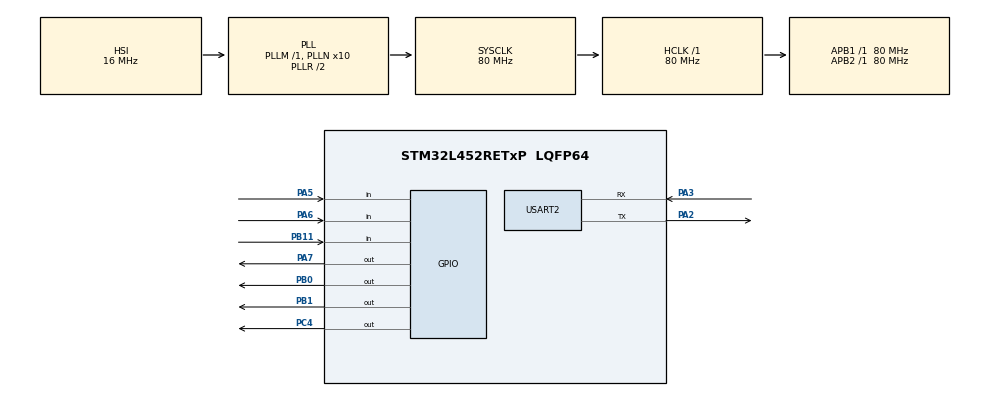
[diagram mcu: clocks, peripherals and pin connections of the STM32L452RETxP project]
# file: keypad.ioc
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Mcu.Family=STM32L4
Mcu.Name=STM32L452RETxP
Mcu.Package=LQFP64
NVIC.PriorityGroup=NVIC_PRIORITYGROUP_4
PA13\ (JTMS/SWDIO).Mode=Serial_Wire
PA13\ (JTMS/SWDIO).Signal=SYS_JTMS-SWDIO
PA14\ (JTCK/SWCLK).Mode=Serial_Wire
PA14\ (JTCK/SWCLK).Signal=SYS_JTCK-SWCLK
PA2.Mode=Asynchronous
PA2.Signal=USART2_TX
PA3.Mode=Asynchronous
PA3.Signal=USART2_RX
PA5.GPIO_PuPd=GPIO_PULLUP
PA5.Signal=GPIO_Input
PA6.GPIO_PuPd=GPIO_PULLUP
PA6.Signal=GPIO_Input
PA7.GPIO_PuPd=GPIO_PULLDOWN
PA7.Signal=GPIO_Output
PB0.GPIO_PuPd=GPIO_PULLDOWN
PB0.Signal=GPIO_Output
PB1.GPIO_PuPd=GPIO_PULLDOWN
PB1.Signal=GPIO_Output
PB11.GPIO_PuPd=GPIO_PULLUP
PB11.Signal=GPIO_Input
PC4.GPIO_PuPd=GPIO_PULLDOWN
PC4.Signal=GPIO_Output
PH0-OSC_IN\ (PH0).Mode=HSE-External-Oscillator
PH0-OSC_IN\ (PH0).Signal=RCC_OSC_IN
PH1-OSC_OUT\ (PH1).Mode=HSE-External-Oscillator
PH1-OSC_OUT\ (PH1).Signal=RCC_OSC_OUT
ProjectManager.HeapSize=0x200
ProjectManager.StackSize=0x400
ProjectManager.TargetToolchain=STM32CubeIDE
RCC.ADCFreq_Value=64000000
RCC.AHBFreq_Value=80000000
RCC.APB1Freq_Value=80000000
RCC.APB1TimFreq_Value=80000000
RCC.APB2Freq_Value=80000000
RCC.APB2TimFreq_Value=80000000
RCC.CortexFreq_Value=80000000
RCC.HCLKFreq_Value=80000000
RCC.HSE_VALUE=8000000
RCC.HSI48_VALUE=48000000
RCC.HSI_VALUE=16000000
RCC.LSE_VALUE=32768
RCC.MSI_VALUE=4000000
RCC.PLLN=10
RCC.PLLSourceVirtual=RCC_PLLSOURCE_HSI
RCC.PREFETCH_ENABLE=1
RCC.SYSCLKFreq_VALUE=80000000
RCC.SYSCLKSource=RCC_SYSCLKSOURCE_PLLCLK
RCC.USBFreq_Value=64000000
RCC.VCOOutputFreq_Value=160000000
USART2.VirtualMode-Asynchronous=VM_ASYNC
board=NUCLEO-L452RE-P

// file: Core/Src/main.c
/* USER CODE BEGIN Header */
/**
  ******************************************************************************
  * @file           : main.c
  * @brief          : Main program body
  ******************************************************************************
  * @attention
  *
  * Copyright (c) 2024 STMicroelectronics.
  * All rights reserved.
  *
  * This software is licensed under terms that can be found in the LICENSE file
  * in the root directory of this software component.
  * If no LICENSE file comes with this software, it is provided AS-IS.
  *
  ******************************************************************************
  */
/* USER CODE END Header */
#include "main.h"

/* USER CODE BEGIN Includes */
 #include <stdio.h>
/* USER CODE END Includes */

/* USER CODE BEGIN PTD */
#define R1_PORT GPIOB
#define R1_PIN GPIO_PIN_1

#define R2_PORT GPIOB
#define R2_PIN GPIO_PIN_0

#define R3_PORT GPIOC
#define R3_PIN GPIO_PIN_4

#define R4_PORT GPIOA
#define R4_PIN GPIO_PIN_7

#define C1_PORT GPIOA
#define C1_PIN GPIO_PIN_6

#define C2_PORT GPIOA
#define C2_PIN GPIO_PIN_5

#define C3_PORT GPIOB
#define C3_PIN GPIO_PIN_11

/* USER CODE END PTD */

UART_HandleTypeDef huart2;

void SystemClock_Config(void);
static void MX_GPIO_Init(void);
static void MX_USART2_UART_Init(void);

int main(void)
{
  /* USER CODE BEGIN 1 */
	uint8_t key;
	char bfr[2];

	uint8_t read_keypad (void)
	{
		/* Make ROW 1 LOW and all other ROWs HIGH */
		HAL_GPIO_WritePin (R1_PORT, R1_PIN, GPIO_PIN_RESET);  //Pull the R1 low
		HAL_GPIO_WritePin (R2_PORT, R2_PIN, GPIO_PIN_SET);  // Pull the R2 High
		HAL_GPIO_WritePin (R3_PORT, R3_PIN, GPIO_PIN_SET);  // Pull the R3 High
		HAL_GPIO_WritePin (R4_PORT, R4_PIN, GPIO_PIN_SET);  // Pull the R4 High

		if (!(HAL_GPIO_ReadPin (C1_PORT, C1_PIN)))   // if the Col 1 is low
		{
			while (!(HAL_GPIO_ReadPin (C1_PORT, C1_PIN)));   // wait till the button is pressed
			return 1;
		}

		if (!(HAL_GPIO_ReadPin (C2_PORT, C2_PIN)))   // if the Col 2 is low
		{
			while (!(HAL_GPIO_ReadPin (C2_PORT, C2_PIN)));   // wait till the button is pressed
			return 2;
		}

		if (!(HAL_GPIO_ReadPin (C3_PORT, C3_PIN)))   // if the Col 3 is low
		{
			while (!(HAL_GPIO_ReadPin (C3_PORT, C3_PIN)));   // wait till the button is pressed
			return 3;
		}

		/* Make ROW 2 LOW and all other ROWs HIGH */
		HAL_GPIO_WritePin (R1_PORT, R1_PIN, GPIO_PIN_SET);  //Pull the R1 low
		HAL_GPIO_WritePin (R2_PORT, R2_PIN, GPIO_PIN_RESET);  // Pull the R2 High
		HAL_GPIO_WritePin (R3_PORT, R3_PIN, GPIO_PIN_SET);  // Pull the R3 High
		HAL_GPIO_WritePin (R4_PORT, R4_PIN, GPIO_PIN_SET);  // Pull the R4 High

		if (!(HAL_GPIO_ReadPin (C1_PORT, C1_PIN)))   // if the Col 1 is low
		{
			while (!(HAL_GPIO_ReadPin (C1_PORT, C1_PIN)));   // wait till the button is pressed
			return 4;
		}

		if (!(HAL_GPIO_ReadPin (C2_PORT, C2_PIN)))   // if the Col 2 is low
		{
			while (!(HAL_GPIO_ReadPin (C2_PORT, C2_PIN)));   // wait till the button is pressed
			return 5;
		}

		if (!(HAL_GPIO_ReadPin (C3_PORT, C3_PIN)))   // if the Col 3 is low
		{
			while (!(HAL_GPIO_ReadPin (C3_PORT, C3_PIN)));   // wait till the button is pressed
			return 6;
		}

		/* Make ROW 3 LOW and all other ROWs HIGH */
		HAL_GPIO_WritePin (R1_PORT, R1_PIN, GPIO_PIN_SET);  //Pull the R1 low
		HAL_GPIO_WritePin (R2_PORT, R2_PIN, GPIO_PIN_SET);  // Pull the R2 High
		HAL_GPIO_WritePin (R3_PORT, R3_PIN, GPIO_PIN_RESET);  // Pull the R3 High
		HAL_GPIO_WritePin (R4_PORT, R4_PIN, GPIO_PIN_SET);  // Pull the R4 High

		if (!(HAL_GPIO_ReadPin (C1_PORT, C1_PIN)))   // if the Col 1 is low
		{
			while (!(HAL_GPIO_ReadPin (C1_PORT, C1_PIN)));   // wait till the button is pressed
			return 7;
		}

		if (!(HAL_GPIO_ReadPin (C2_PORT, C2_PIN)))   // if the Col 2 is low
		{
			while (!(HAL_GPIO_ReadPin (C2_PORT, C2_PIN)));   // wait till the button is pressed
			return 8;
		}

		if (!(HAL_GPIO_ReadPin (C3_PORT, C3_PIN)))   // if the Col 3 is low
		{
			while (!(HAL_GPIO_ReadPin (C3_PORT, C3_PIN)));   // wait till the button is pressed
			return 9;
		}

		/* Make ROW 4 LOW and all other ROWs HIGH */
		HAL_GPIO_WritePin (R1_PORT, R1_PIN, GPIO_PIN_SET);  //Pull the R1 low
		HAL_GPIO_WritePin (R2_PORT, R2_PIN, GPIO_PIN_SET);  // Pull the R2 High
		HAL_GPIO_WritePin (R3_PORT, R3_PIN, GPIO_PIN_SET);  // Pull the R3 High
		HAL_GPIO_WritePin (R4_PORT, R4_PIN, GPIO_PIN_RESET);  // Pull the R4 High

		if (!(HAL_GPIO_ReadPin (C1_PORT, C1_PIN)))   // if the Col 1 is low
		{
			while (!(HAL_GPIO_ReadPin (C1_PORT, C1_PIN)));   // wait till the button is pressed
			return 42;
		}

		if (!(HAL_GPIO_ReadPin (C2_PORT, C2_PIN)))   // if the Col 2 is low
		{
			while (!(HAL_GPIO_ReadPin (C2_PORT, C2_PIN)));   // wait till the button is pressed
			return 0;
		}

		if (!(HAL_GPIO_ReadPin (C3_PORT, C3_PIN)))   // if the Col 3 is low
		{
			while (!(HAL_GPIO_ReadPin (C3_PORT, C3_PIN)));   // wait till the button is pressed
			return 35;
		}

		 return 0xFF;
	}
  /* USER CODE END 1 */

  /* MCU Configuration--------------------------------------------------------*/

  /* Reset of all peripherals, Initializes the Flash interface and the Systick. */
  HAL_Init();

  /* Configure the system clock */
  SystemClock_Config();

  /* Initialize all configured peripherals */
  MX_GPIO_Init();
  MX_USART2_UART_Init();

  /* Infinite loop */
  /* USER CODE BEGIN WHILE */
  while (1)
  {
	  key = read_keypad();

 if (key != 0xFF) {

	 if (key != 35 && key != 42)
	 {
		 sprintf(bfr, "%u", key);
		 HAL_UART_Transmit(&huart2, (uint8_t*) bfr, sizeof(bfr) - 1, 10);
	 } else if (key == 42)  {

		 HAL_UART_Transmit(&huart2, (uint8_t*) "*", 1, 1000);

	 } else if (key == 35) {

		 HAL_UART_Transmit(&huart2, (uint8_t*) "#", 1, 1000);

	 }

}

HAL_Delay(400);

    /* USER CODE END WHILE */

  }
}

void SystemClock_Config(void)
{
  RCC_OscInitTypeDef RCC_OscInitStruct = {0};
  RCC_ClkInitTypeDef RCC_ClkInitStruct = {0};

  /** Configure the main internal regulator output voltage
  */
  if (HAL_PWREx_ControlVoltageScaling(PWR_REGULATOR_VOLTAGE_SCALE1) != HAL_OK)
  {
    Error_Handler();
  }

  /** Initializes the RCC Oscillators according to the specified parameters
  * in the RCC_OscInitTypeDef structure.
  */
  RCC_OscInitStruct.OscillatorType = RCC_OSCILLATORTYPE_HSI;
  RCC_OscInitStruct.HSIState = RCC_HSI_ON;
  RCC_OscInitStruct.HSICalibrationValue = 64;
  RCC_OscInitStruct.PLL.PLLState = RCC_PLL_ON;
  RCC_OscInitStruct.PLL.PLLSource = RCC_PLLSOURCE_HSI;
  RCC_OscInitStruct.PLL.PLLM = 1;
  RCC_OscInitStruct.PLL.PLLN = 10;
  RCC_OscInitStruct.PLL.PLLP = RCC_PLLP_DIV7;
  RCC_OscInitStruct.PLL.PLLQ = RCC_PLLQ_DIV2;
  RCC_OscInitStruct.PLL.PLLR = RCC_PLLR_DIV2;
  if (HAL_RCC_OscConfig(&RCC_OscInitStruct) != HAL_OK)
  {
    Error_Handler();
  }

  /** Initializes the CPU, AHB and APB buses clocks
  */
  RCC_ClkInitStruct.ClockType = RCC_CLOCKTYPE_HCLK|RCC_CLOCKTYPE_SYSCLK
                              |RCC_CLOCKTYPE_PCLK1|RCC_CLOCKTYPE_PCLK2;
  RCC_ClkInitStruct.SYSCLKSource = RCC_SYSCLKSOURCE_PLLCLK;
  RCC_ClkInitStruct.AHBCLKDivider = RCC_SYSCLK_DIV1;
  RCC_ClkInitStruct.APB1CLKDivider = RCC_HCLK_DIV1;
  RCC_ClkInitStruct.APB2CLKDivider = RCC_HCLK_DIV1;

  if (HAL_RCC_ClockConfig(&RCC_ClkInitStruct, FLASH_LATENCY_4) != HAL_OK)
  {
    Error_Handler();
  }
}

static void MX_USART2_UART_Init(void)
{

  huart2.Instance = USART2;
  huart2.Init.BaudRate = 115200;
  huart2.Init.WordLength = UART_WORDLENGTH_8B;
  huart2.Init.StopBits = UART_STOPBITS_1;
  huart2.Init.Parity = UART_PARITY_NONE;
  huart2.Init.Mode = UART_MODE_TX_RX;
  huart2.Init.HwFlowCtl = UART_HWCONTROL_NONE;
  huart2.Init.OverSampling = UART_OVERSAMPLING_16;
  huart2.Init.OneBitSampling = UART_ONE_BIT_SAMPLE_DISABLE;
  huart2.AdvancedInit.AdvFeatureInit = UART_ADVFEATURE_NO_INIT;
  if (HAL_UART_Init(&huart2) != HAL_OK)
  {
    Error_Handler();
  }

}

static void MX_GPIO_Init(void)
{
  GPIO_InitTypeDef GPIO_InitStruct = {0};

  /* GPIO Ports Clock Enable */
  __HAL_RCC_GPIOH_CLK_ENABLE();
  __HAL_RCC_GPIOA_CLK_ENABLE();
  __HAL_RCC_GPIOC_CLK_ENABLE();
  __HAL_RCC_GPIOB_CLK_ENABLE();

  /*Configure GPIO pin Output Level */
  HAL_GPIO_WritePin(GPIOA, GPIO_PIN_7, GPIO_PIN_RESET);

  /*Configure GPIO pin Output Level */
  HAL_GPIO_WritePin(GPIOC, GPIO_PIN_4, GPIO_PIN_RESET);

  /*Configure GPIO pin Output Level */
  HAL_GPIO_WritePin(GPIOB, GPIO_PIN_0|GPIO_PIN_1, GPIO_PIN_RESET);

  /*Configure GPIO pins : PA5 PA6 */
  GPIO_InitStruct.Pin = GPIO_PIN_5|GPIO_PIN_6;
  GPIO_InitStruct.Mode = GPIO_MODE_INPUT;
  GPIO_InitStruct.Pull = GPIO_PULLUP;
  HAL_GPIO_Init(GPIOA, &GPIO_InitStruct);

  /*Configure GPIO pin : PA7 */
  GPIO_InitStruct.Pin = GPIO_PIN_7;
  GPIO_InitStruct.Mode = GPIO_MODE_OUTPUT_PP;
  GPIO_InitStruct.Pull = GPIO_PULLDOWN;
  GPIO_InitStruct.Speed = GPIO_SPEED_FREQ_LOW;
  HAL_GPIO_Init(GPIOA, &GPIO_InitStruct);

  /*Configure GPIO pin : PC4 */
  GPIO_InitStruct.Pin = GPIO_PIN_4;
  GPIO_InitStruct.Mode = GPIO_MODE_OUTPUT_PP;
  GPIO_InitStruct.Pull = GPIO_PULLDOWN;
  GPIO_InitStruct.Speed = GPIO_SPEED_FREQ_LOW;
  HAL_GPIO_Init(GPIOC, &GPIO_InitStruct);

  /*Configure GPIO pins : PB0 PB1 */
  GPIO_InitStruct.Pin = GPIO_PIN_0|GPIO_PIN_1;
  GPIO_InitStruct.Mode = GPIO_MODE_OUTPUT_PP;
  GPIO_InitStruct.Pull = GPIO_PULLDOWN;
  GPIO_InitStruct.Speed = GPIO_SPEED_FREQ_LOW;
  HAL_GPIO_Init(GPIOB, &GPIO_InitStruct);

  /*Configure GPIO pin : PB11 */
  GPIO_InitStruct.Pin = GPIO_PIN_11;
  GPIO_InitStruct.Mode = GPIO_MODE_INPUT;
  GPIO_InitStruct.Pull = GPIO_PULLUP;
  HAL_GPIO_Init(GPIOB, &GPIO_InitStruct);

}

void Error_Handler(void)
{
  __disable_irq();
  while (1)
  {
  }
}
